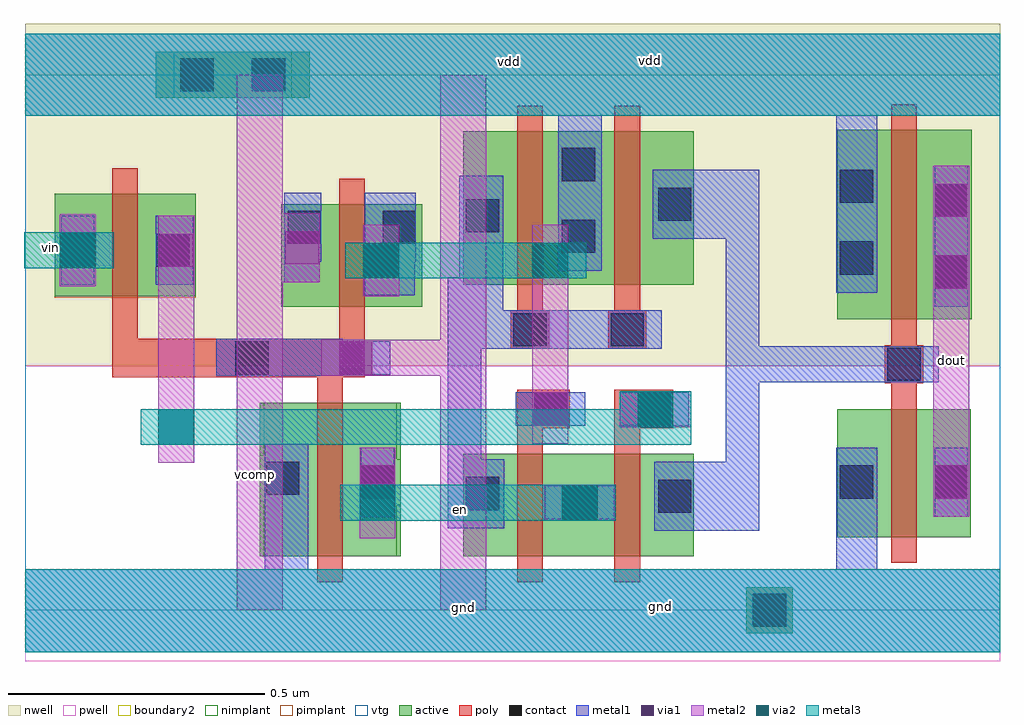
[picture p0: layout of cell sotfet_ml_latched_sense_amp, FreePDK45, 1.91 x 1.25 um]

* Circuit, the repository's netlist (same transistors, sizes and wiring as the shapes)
************************************************************************
* auCdl Netlist:
* 
* Library Name:  openram_sot
* Top Cell Name: sotfet_ml_latched_sense_amp
* View Name:     schematic
* Netlisted on:  Sep 13 20:48:24 2021
************************************************************************

*.EQUATION
*.SCALE METER
*.MEGA
.PARAM



************************************************************************
* Library Name: openram_sot
* Cell Name:    sotfet_ml_latched_sense_amp
* View Name:    schematic
************************************************************************

.SUBCKT sotfet_ml_latched_sense_amp dout en gnd vcomp vdd vin
MM12 dout dout_bar gnd gnd NMOS_VTG W=250.0n L=50n m=1
MM10 net34 vcomp_int net33 gnd NMOS_VTG W=200n L=50n m=1
MM8 dout_bar vin_int net33 gnd NMOS_VTG W=200n L=50n m=1
MM9 net33 en gnd gnd NMOS_VTG W=300n L=50n m=1
MM3 vin en vin_int vdd PMOS_VTG W=200n L=50n m=1
MM2 vcomp_int en vcomp vdd PMOS_VTG W=200n L=50n m=1
MM7 net34 net34 vdd vdd PMOS_VTG W=300n L=50n m=1
MM6 dout_bar net34 vdd vdd PMOS_VTG W=300n L=50n m=1
MM11 dout dout_bar vdd vdd PMOS_VTG W=370.0n L=50n m=1
.ENDS

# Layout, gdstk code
from math import pi, radians
import gdstk
lib = gdstk.Library(unit=1e-6, precision=5e-10)
def R(c, l, rs):  # rectangles x0, y0, x1, y1
    for r in rs: c.add(gdstk.rectangle(r[:2], r[2:], *l))
active = (1, 0)
pwell = (2, 0)
nwell = (3, 0)
nimplant = (4, 0)
pimplant = (5, 0)
vtg = (6, 0)
poly = (9, 0)
contact = (10, 0)
metal1 = (11, 0)
via1 = (12, 0)
metal2 = (13, 0)
via2 = (14, 0)
metal3 = (15, 0)
boundary2 = (239, 0)

m2_m1_cdns_631571583060 = lib.new_cell('M2_M1_CDNS_631571583060')
R(m2_m1_cdns_631571583060, metal1, [(-0.0325,-0.0675,0.0325,0.0675)])
R(m2_m1_cdns_631571583060, via1, [(-0.0325,-0.0325,0.0325,0.0325)])
R(m2_m1_cdns_631571583060, metal2, [(-0.035,-0.0675,0.035,0.0675)])

m3_m2_cdns_631571583061 = lib.new_cell('M3_M2_CDNS_631571583061')
R(m3_m2_cdns_631571583061, metal2, [(-0.035,-0.07,0.035,0.07)])
R(m3_m2_cdns_631571583061, via2, [(-0.035,-0.035,0.035,0.035)])
R(m3_m2_cdns_631571583061, metal3, [(-0.035,-0.07,0.035,0.07)])

m3_m2_cdns_631571583062 = lib.new_cell('M3_M2_CDNS_631571583062')
R(m3_m2_cdns_631571583062, metal2, [(-0.035,-0.07,0.035,0.07)])
R(m3_m2_cdns_631571583062, via2, [(-0.035,-0.035,0.035,0.035)])
R(m3_m2_cdns_631571583062, metal3, [(-0.07,-0.035,0.07,0.035)])

m1_n_cdns_631571583063 = lib.new_cell('M1_N_CDNS_631571583063')
R(m1_n_cdns_631571583063, active, [(-0.045,-0.045,0.045,0.045)])
R(m1_n_cdns_631571583063, nimplant, [(-0.045,-0.045,0.045,0.045)])
R(m1_n_cdns_631571583063, contact, [(-0.0325,-0.0325,0.0325,0.0325)])
R(m1_n_cdns_631571583063, metal1, [(-0.0325,-0.0675,0.0325,0.0675)])

m2_m1_cdns_631571583064 = lib.new_cell('M2_M1_CDNS_631571583064')
R(m2_m1_cdns_631571583064, metal1, [(-0.0325,-0.1375,0.0325,0.1375)])
R(m2_m1_cdns_631571583064, via1, [(-0.0325,-0.1025,0.0325,-0.0375), (-0.0325,0.0375,0.0325,0.1025)])
R(m2_m1_cdns_631571583064, metal2, [(-0.035,-0.1375,0.035,0.1375)])

ptap_cdns_631571583065 = lib.new_cell('PTAP_CDNS_631571583065')
R(ptap_cdns_631571583065, active, [(-0.045,-0.045,0.045,0.045)])
R(ptap_cdns_631571583065, pwell, [(-0.1,-0.1,0.1,0.1)])
R(ptap_cdns_631571583065, pimplant, [(-0.045,-0.045,0.045,0.045)])
R(ptap_cdns_631571583065, contact, [(-0.0325,-0.0325,0.0325,0.0325)])
R(ptap_cdns_631571583065, metal1, [(-0.0325,-0.0675,0.0325,0.0675)])

ntap_cdns_631571583066 = lib.new_cell('NTAP_CDNS_631571583066')
R(ntap_cdns_631571583066, active, [(-0.15,-0.045,0.15,0.045)])
R(ntap_cdns_631571583066, nwell, [(-0.17,-0.1,0.17,0.1)])
R(ntap_cdns_631571583066, nimplant, [(-0.115,-0.045,0.115,0.045)])
R(ntap_cdns_631571583066, contact, [(-0.1025,-0.0325,-0.0375,0.0325), (0.0375,-0.0325,0.1025,0.0325)])
R(ntap_cdns_631571583066, metal1, [(-0.1375,-0.0325,0.1375,0.0325)])

m2_m1_cdns_631571583067 = lib.new_cell('M2_M1_CDNS_631571583067')
R(m2_m1_cdns_631571583067, metal1, [(-0.0325,-0.0675,0.0325,0.0675)])
R(m2_m1_cdns_631571583067, via1, [(-0.0325,-0.0325,0.0325,0.0325)])
R(m2_m1_cdns_631571583067, metal2, [(-0.0675,-0.035,0.0675,0.035)])

m1_p_cdns_631571583068 = lib.new_cell('M1_P_CDNS_631571583068')
R(m1_p_cdns_631571583068, active, [(-0.045,-0.045,0.045,0.045)])
R(m1_p_cdns_631571583068, pimplant, [(-0.045,-0.045,0.045,0.045)])
R(m1_p_cdns_631571583068, contact, [(-0.0325,-0.0325,0.0325,0.0325)])
R(m1_p_cdns_631571583068, metal1, [(-0.0325,-0.0675,0.0325,0.0675)])

sotfet_ml_latched_sense_ = lib.new_cell('sotfet_ml_latched_sense_amp')
R(sotfet_ml_latched_sense_, active, [(0.4575,0.105,0.7325,0.405), (0.855,0.105,1.305,0.305), (1.585,0.1425,1.845,0.3925), (1.585,0.5675,1.8475,0.9375), (0.5,0.5925,0.775,0.7925), (0.0575,0.6125,0.3325,0.8125), (0.855,0.635,1.305,0.935)])
R(sotfet_ml_latched_sense_, pwell, [(0,-0.1,1.9025,0.4775)])
R(sotfet_ml_latched_sense_, nwell, [(0,0.4775,1.9025,1.145)])
R(sotfet_ml_latched_sense_, nimplant, [(0.465,0.105,0.725,0.405), (0.855,0.105,1.305,0.305), (1.585,0.1425,1.845,0.3925)])
R(sotfet_ml_latched_sense_, pimplant, [(1.585,0.5675,1.8475,0.9375), (0.5,0.5925,0.775,0.7925), (0.0575,0.61,0.3325,0.8125), (0.855,0.635,1.305,0.935)])
R(sotfet_ml_latched_sense_, vtg, [(0,0,1.9025,1.045)])
R(sotfet_ml_latched_sense_, poly, [(0.57,0.055,0.62,0.53), (0.96,0.055,1.01,0.43), (1.15,0.055,1.2,0.43), (1.69,0.0925,1.74,0.9875), (0.9875,0.355,1.0625,0.43), (1.19,0.355,1.265,0.43), (1.6775,0.4425,1.7525,0.5175), (0.17,0.455,0.6625,0.53), (0.405,0.455,0.48,0.53), (0.17,0.505,0.22,0.8625), (0.6125,0.505,0.6625,0.8425), (0.9475,0.51,1.0225,0.585), (0.96,0.51,1.01,0.985), (1.1375,0.51,1.2125,0.585), (1.15,0.51,1.2,0.985)])
R(sotfet_ml_latched_sense_, contact, [(1.05,0.1775,1.115,0.2425), (1.235,0.19,1.3,0.255), (0.86,0.195,0.925,0.26), (1.59,0.2175,1.655,0.2825), (1.775,0.2175,1.84,0.2825), (0.9925,0.36,1.0575,0.425), (1.195,0.36,1.26,0.425), (1.6825,0.4475,1.7475,0.5125), (0.41,0.46,0.475,0.525), (0.9525,0.515,1.0175,0.58), (1.1425,0.515,1.2075,0.58), (1.775,0.6275,1.84,0.6925), (1.59,0.655,1.655,0.72), (1.0475,0.6975,1.1125,0.7625), (0.86,0.7375,0.925,0.8025), (1.235,0.76,1.3,0.825), (1.775,0.7675,1.84,0.8325), (1.59,0.795,1.655,0.86), (1.0475,0.8375,1.1125,0.9025)])
R(sotfet_ml_latched_sense_, metal1, [(0,-0.0825,1.9025,0.08), (0.4675,0,0.5525,0.325), (1.5825,0,1.6625,0.3175), (1.2275,0.155,1.4325,0.29), (0.825,0.16,0.89,0.65), (0.885,0.16,0.935,0.295), (1.3675,0.2075,1.4325,0.86), (0.9575,0.36,1.0925,0.425), (1.16,0.36,1.295,0.425), (1.4125,0.445,1.7825,0.515), (0.3725,0.4575,0.62,0.53), (0.5775,0.46,0.7125,0.525), (0.8475,0.51,0.9325,0.8475), (0.9175,0.51,1.2425,0.585), (0.6625,0.615,0.76,0.815), (1.5825,0.62,1.6625,1.045), (0.505,0.64,0.575,0.815), (1.04,0.6625,1.125,1.01), (1.225,0.725,1.43,0.86), (0,0.965,1.9025,1.125)])
R(sotfet_ml_latched_sense_, metal2, [(0.4125,0,0.5025,1.045), (0.81,0,0.9,1.045), (1.7725,0.235,1.8425,0.73), (0.26,0.315,0.33,0.77), (0.99,0.41,1.06,0.665), (0.6425,0.4575,0.86,0.5275), (0.4775,0.64,0.575,0.775)])
R(sotfet_ml_latched_sense_, metal3, [(0,-0.0825,1.9025,0.08), (0.615,0.175,1.1375,0.245), (0.225,0.3225,1.3,0.3925), (0.68,0.6475,1.085,0.7175), (-0.0025,0.6675,0.1725,0.7375), (0,0.965,1.9025,1.125)])
R(sotfet_ml_latched_sense_, boundary2, [(0,0,1.9025,1.045)])
sotfet_ml_latched_sense_.add(gdstk.FlexPath([(0.54,0.7075),(0.5025,0.7075)], 0.07, ends="flush", simple_path=True, layer=13, datatype=0))  # metal2
sotfet_ml_latched_sense_.add(gdstk.Reference(m2_m1_cdns_631571583060, (0.1025,0.7025)))
sotfet_ml_latched_sense_.add(gdstk.Reference(m2_m1_cdns_631571583060, (0.695,0.6825)))
sotfet_ml_latched_sense_.add(gdstk.Reference(m2_m1_cdns_631571583060, (1.8075,0.25)))
sotfet_ml_latched_sense_.add(gdstk.Reference(m2_m1_cdns_631571583060, (1.2275,0.3925), rotation=pi/2))
sotfet_ml_latched_sense_.add(gdstk.Reference(m2_m1_cdns_631571583060, (1.0825,0.21), rotation=pi/2))
sotfet_ml_latched_sense_.add(gdstk.Reference(m2_m1_cdns_631571583060, (0.6875,0.25)))
sotfet_ml_latched_sense_.add(gdstk.Reference(m2_m1_cdns_631571583060, (0.54,0.7075)))
sotfet_ml_latched_sense_.add(gdstk.Reference(m2_m1_cdns_631571583060, (0.645,0.4925), rotation=pi/2))
sotfet_ml_latched_sense_.add(gdstk.Reference(m2_m1_cdns_631571583060, (0.295,0.7025), rotation=pi))
sotfet_ml_latched_sense_.add(gdstk.Reference(m3_m2_cdns_631571583061, (1.23,0.3925), rotation=pi/2))
sotfet_ml_latched_sense_.add(gdstk.Reference(m3_m2_cdns_631571583061, (1.0825,0.21), rotation=pi/2))
sotfet_ml_latched_sense_.add(gdstk.Reference(m3_m2_cdns_631571583062, (0.1025,0.7025)))
sotfet_ml_latched_sense_.add(gdstk.Reference(m3_m2_cdns_631571583062, (0.695,0.6825)))
sotfet_ml_latched_sense_.add(gdstk.Reference(m3_m2_cdns_631571583062, (0.6875,0.21), rotation=pi))
sotfet_ml_latched_sense_.add(gdstk.Reference(m3_m2_cdns_631571583062, (0.295,0.3575)))
sotfet_ml_latched_sense_.add(gdstk.Reference(m3_m2_cdns_631571583062, (1.025,0.6825)))
sotfet_ml_latched_sense_.add(gdstk.Reference(m1_n_cdns_631571583063, (0.5025,0.2575)))
sotfet_ml_latched_sense_.add(gdstk.Reference(m1_n_cdns_631571583063, (0.6875,0.25)))
sotfet_ml_latched_sense_.add(gdstk.Reference(m2_m1_cdns_631571583064, (1.8075,0.73)))
sotfet_ml_latched_sense_.add(gdstk.Reference(ptap_cdns_631571583065, (1.4525,0), rotation=pi/2))
sotfet_ml_latched_sense_.add(gdstk.Reference(ntap_cdns_631571583066, (0.405,1.045)))
sotfet_ml_latched_sense_.add(gdstk.Reference(m2_m1_cdns_631571583067, (1.025,0.3925), rotation=pi/2))
sotfet_ml_latched_sense_.add(gdstk.Reference(m1_p_cdns_631571583068, (0.1025,0.7025)))
sotfet_ml_latched_sense_.add(gdstk.Reference(m1_p_cdns_631571583068, (0.2875,0.7025)))
sotfet_ml_latched_sense_.add(gdstk.Reference(m1_p_cdns_631571583068, (0.545,0.7475)))
sotfet_ml_latched_sense_.add(gdstk.Reference(m1_p_cdns_631571583068, (0.73,0.7475)))
sotfet_ml_latched_sense_.add(gdstk.Label('gnd', (0.855,0.005), layer=11, texttype=0))
sotfet_ml_latched_sense_.add(gdstk.Label('vdd', (0.945,1.07), layer=11, texttype=0))
sotfet_ml_latched_sense_.add(gdstk.Label('gnd', (1.24,0.0075), layer=15, texttype=0))
sotfet_ml_latched_sense_.add(gdstk.Label('vdd', (1.22,1.0725), layer=15, texttype=0))
sotfet_ml_latched_sense_.add(gdstk.Label('vin', (0.05,0.7075), layer=15, texttype=0))
sotfet_ml_latched_sense_.add(gdstk.Label('en', (0.85,0.1975), layer=13, texttype=0))
sotfet_ml_latched_sense_.add(gdstk.Label('dout', (1.8075,0.4875), layer=13, texttype=0))
sotfet_ml_latched_sense_.add(gdstk.Label('vcomp', (0.45,0.265), layer=13, texttype=0))

lib.write_gds('sotfet_ml_latched_sense_amp.gds')
